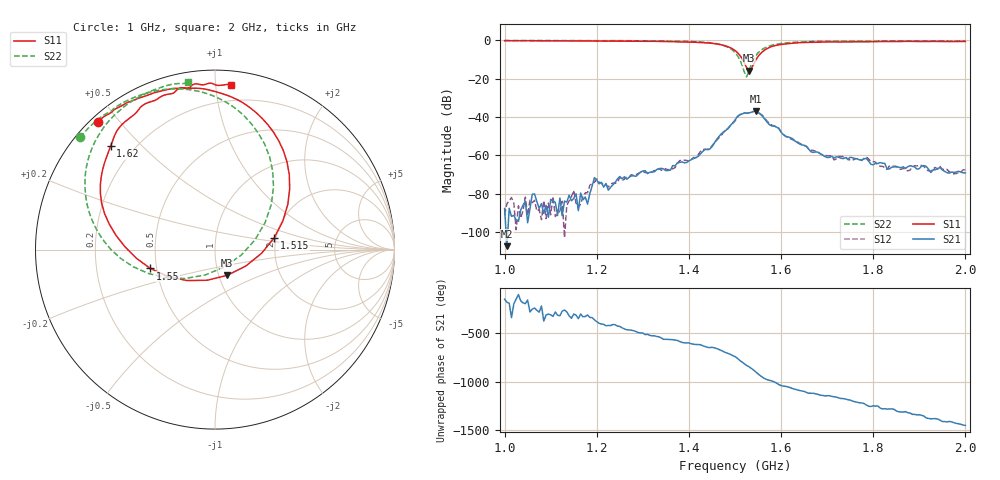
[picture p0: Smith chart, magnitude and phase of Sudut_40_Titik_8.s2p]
# Hz S RI R 50
! CMT, C1220, 16058040, 17.2.0/1
! Date: 14/08/2018 12:03:52
! Data: Format (Calibration Info)
! Freq  S11: Re/Im (F2)  S21: Re/Im (F2)  S12: Re/Im (F2)  S22: Re/Im (F2)
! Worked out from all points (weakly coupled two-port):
!   201 points, 1 GHz to 2 GHz, reference 50 ohm
!   highest |S21| = -36.89 dB at 1.545 GHz (marker M1); lowest = -107.3 dB at 1.005 GHz (marker M2)
!   lowest |S11| = -16.0 dB at 1.53 GHz (marker M3), VSWR 1.38, Z = 54.9 - j16.1 ohm
!   |S11| at or under -10 dB: 1.516 GHz to 1.546 GHz (29.76 MHz wide, 1.94 % of centre)
!   |S22| runs from -19.1 to -0.2 dB; largest |S21 - S12| = 0.00061
!   S11 on the Smith chart (normalised r, x): 1 GHz: 0.02, +0.44; 1.515 GHz: 1.96, +0.29; 1.55 GHz: 0.46, -0.11; 1.62 GHz: 0.12, +0.41; 2 GHz: 0.09, +1.10
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1e9  -0.6528 0.7097  -3.69e-05 -1.87e-05  -2.26e-05 1.71e-05  -0.7535 0.6256
1.005e9  -0.6459 0.7142  -4.31e-06 2.29e-07  -4.94e-05 2.46e-05  -0.7498 0.6298
1.17e9  -0.4842 0.8208  6.19e-05 3.1e-05  8.01e-05 2.64e-05  -0.616 0.7515
1.185e9  -0.4604 0.8298  9.55e-05 3.57e-05  0.000166 1.48e-05  -0.5989 0.761
1.195e9  -0.4476 0.8345  0.000262 -2.19e-05  0.000199 -1.9e-05  -0.5868 0.7647
1.225e9  -0.4147 0.8471  5.82e-05 -0.00011  8.38e-05 -0.000124  -0.5661 0.7838
1.25e9  -0.3673 0.8632  8.7e-05 -0.000268  3.09e-05 -0.000263  -0.5356 0.8048
1.335e9  -0.2275 0.8981  -0.000447 -4.55e-06  -0.000451 3.61e-05  -0.3997 0.8664
1.365e9  -0.141 0.8991  -0.000475 0.000262  -0.000396 0.000198  -0.3315 0.8842
1.445e9  0.1472 0.823  0.000489 0.00135  0.000597 0.00135  -0.00673 0.8554
1.5e9  0.4162 0.3397  0.00765 -0.0031  0.00719 -0.00299  0.3261 0.3481
1.515e9  0.3298 0.0656  0.00253 -0.0116  0.00287 -0.0116  0.2232 0.0547
1.525e9  0.1713 -0.0919  -0.00494 -0.0114  -0.00496 -0.0115  0.0517 -0.0975
1.53e9  0.0686 -0.1431  -0.0075 -0.0103  -0.00754 -0.0104  -0.0553 -0.1417
1.545e9  -0.2642 -0.1495  -0.0143 8.48e-05  -0.0141 -0.000187  -0.372 -0.1326
1.55e9  -0.3605 -0.105  -0.0123 0.00462  -0.0124 0.00416  -0.4562 -0.0951
1.58e9  -0.6315 0.2579  0.000275 0.00584  0.00053 0.00606  -0.7034 0.2149
1.62e9  -0.5812 0.5768  0.00275 0.000917  0.00258 0.00085  -0.7083 0.4967
1.67e9  -0.459 0.7451  0.000917 -0.000761  0.00101 -0.000883  -0.6256 0.673
1.785e9  -0.233 0.8713  -0.000781 -0.000287  -0.000827 -0.000369  -0.4444 0.8381
1.835e9  -0.1584 0.8971  -0.000412 0.000157  -0.000435 0.000295  -0.3749 0.8747
2e9  0.0877 0.9194  0.000343 -6.54e-05  0.000406 -6.58e-05  -0.1507 0.9336
